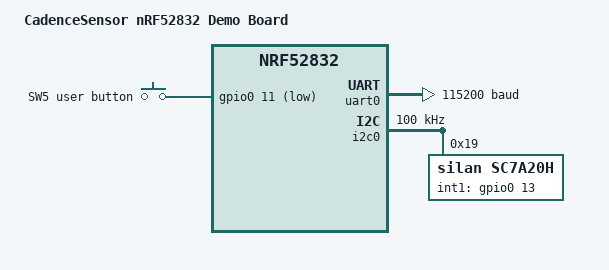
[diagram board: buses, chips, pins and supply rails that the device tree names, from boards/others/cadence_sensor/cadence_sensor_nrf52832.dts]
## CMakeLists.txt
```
cmake_minimum_required(VERSION 3.20.0)
list(APPEND BOARD_ROOT ${CMAKE_CURRENT_SOURCE_DIR})
list(APPEND DTS_ROOT ${CMAKE_CURRENT_SOURCE_DIR})
if(NOT DEFINED BOARD)
    set(BOARD cadence_sensor/nrf52832 CACHE STRING "Target board")
endif()
# Load ANT for both command-line and IDE builds. Cache the module path so
# subsequent IDE/pristine builds do not depend on the launching shell.
set(CADENCE_ANT_MODULE_DIR "D:/ncs/ant-v2.1.1/ant" CACHE PATH "sdk-ant v2.1.1 module")
if(DEFINED ENV{CADENCE_ANT_MODULE_DIR})
    set(CADENCE_ANT_MODULE_DIR "$ENV{CADENCE_ANT_MODULE_DIR}" CACHE PATH "sdk-ant v2.1.1 module" FORCE)
endif()
if(NOT EXISTS "${CADENCE_ANT_MODULE_DIR}/zephyr/module.yml")
    message(FATAL_ERROR "ANT add-on missing: set CADENCE_ANT_MODULE_DIR to sdk-ant v2.1.1")
endif()
list(APPEND ZEPHYR_EXTRA_MODULES "${CADENCE_ANT_MODULE_DIR}")
find_package(Zephyr REQUIRED HINTS $ENV{ZEPHYR_BASE})
file(STRINGS "${ZEPHYR_NRF_MODULE_DIR}/VERSION" cadence_sdk_version LIMIT_COUNT 1)
if(NOT cadence_sdk_version STREQUAL "3.2.4")
    message(FATAL_ERROR "CadenceSensor requires NCS 3.2.4 with sdk-ant v2.1.1")
endif()

project(nRF52832_Demo)

target_include_directories(app PRIVATE ${CMAKE_CURRENT_SOURCE_DIR}/src)

target_sources(app PRIVATE
    src/main.c
    src/app/ant_app.c
    src/app/bluetooth_app.c
    src/app/ota_entry.c
    src/app/sc7a20h_app.c
    src/drivers/sc7a20h.c
)
```

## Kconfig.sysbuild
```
choice FIRMWARE_LOADER
config FIRMWARE_LOADER_IMAGE_CADENCE
	bool "CadenceSensor BLE Loader"
endchoice

config FIRMWARE_LOADER_IMAGE_NAME
	default "ble_loader" if FIRMWARE_LOADER_IMAGE_CADENCE

config FIRMWARE_LOADER_IMAGE_PATH
	default "$(APP_DIR)/loader" if FIRMWARE_LOADER_IMAGE_CADENCE

source "$(ZEPHYR_BASE)/share/sysbuild/Kconfig"
```

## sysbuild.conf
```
SB_CONFIG_BOOTLOADER_MCUBOOT=y
# DTS owns the stable OTA map, including when using NCS 3.2.4 for ANT.
SB_CONFIG_PARTITION_MANAGER=n
SB_CONFIG_MCUBOOT_MODE_FIRMWARE_UPDATER=y
SB_CONFIG_MCUBOOT_MODE_FIRMWARE_UPDATER_BOOT_MODE_ENTRANCE=y
SB_CONFIG_FIRMWARE_LOADER_IMAGE_CADENCE=y
SB_CONFIG_BOOT_SIGNATURE_TYPE_ECDSA_P256=y
# SDK development key only; provision a private release key before distribution.
```

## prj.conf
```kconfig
# BLE peripheral using the on-chip SoftDevice Controller.
CONFIG_BT=y
CONFIG_BT_PERIPHERAL=y
CONFIG_BT_LL_SOFTDEVICE=y
CONFIG_BT_DEVICE_NAME="CadenceSensor"
CONFIG_BT_MAX_CONN=1

# ANT/BLE multiprotocol, sdk-ant v2.1.1 + NCS v3.2.4.
# Official evaluation authorization: non-commercial development only.
CONFIG_ANT=y
CONFIG_ANT_EVALUATION_KEY=y
CONFIG_ANT_CHANNEL_CONFIG=y
CONFIG_ANT_KEY_MANAGER=y
CONFIG_ANT_TOTAL_CHANNELS_ALLOCATED=1
CONFIG_ANT_ENCRYPTED_CHANNELS=0
CONFIG_HEAP_MEM_POOL_SIZE=4096

# I2C0 wiring and SC7A20H address are defined by the custom board DTS.
CONFIG_I2C=y

# printk console over BLE NUS; physical UART0 remains at P0.25/P0.26.
CONFIG_SERIAL=y
CONFIG_CONSOLE=y
CONFIG_UART_CONSOLE=y
CONFIG_PRINTK=y
CONFIG_BT_ZEPHYR_NUS=y
CONFIG_BT_ZEPHYR_NUS_DEFAULT_INSTANCE=n
CONFIG_BT_ZEPHYR_NUS_AUTO_START_BLUETOOTH=n
CONFIG_UART_BT=y

# The sysbuild bootchain signs and links this application into slot0.
CONFIG_BOOTLOADER_MCUBOOT=y
CONFIG_REBOOT=y
```

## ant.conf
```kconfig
# Official sdk-ant v2.1.1 / sdk-nrf v3.2.4 only.
# Evaluation stack for non-commercial development; no private key is stored.
CONFIG_ANT=y
CONFIG_ANT_EVALUATION_KEY=y
CONFIG_ANT_CHANNEL_CONFIG=y
CONFIG_ANT_KEY_MANAGER=y
CONFIG_ANT_TOTAL_CHANNELS_ALLOCATED=1
CONFIG_ANT_ENCRYPTED_CHANNELS=0
CONFIG_HEAP_MEM_POOL_SIZE=4096
```

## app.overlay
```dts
/* Application transport only. Physical wiring belongs to the board DTS. */
/ {
	chosen {
		zephyr,bt-hci = &bt_hci_sdc;
		zephyr,console = &bt_console;
	};

	bt_console: bt-console {
		compatible = "zephyr,nus-uart";
		tx-fifo-size = <2048>;
		rx-fifo-size = <512>;
	};
};

&radio { status = "okay"; };
&bt_hci_sdc { status = "okay"; };
&bt_hci_controller { status = "disabled"; };
```

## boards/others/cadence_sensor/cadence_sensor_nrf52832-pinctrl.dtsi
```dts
#include <zephyr/dt-bindings/pinctrl/nrf-pinctrl.h>

&pinctrl {
	uart0_default: uart0_default {
		tx {
			psels = <NRF_PSEL(UART_TX, 0, 25)>;
		};
		rx {
			psels = <NRF_PSEL(UART_RX, 0, 26)>;
			bias-pull-up;
		};
	};
	uart0_sleep: uart0_sleep {
		group1 {
			psels = <NRF_PSEL(UART_TX, 0, 25)>, <NRF_PSEL(UART_RX, 0, 26)>;
			low-power-enable;
			bias-pull-up;
		};
	};
	i2c0_default: i2c0_default {
		group1 {
			psels = <NRF_PSEL(TWIM_SCL, 0, 15)>,
				<NRF_PSEL(TWIM_SDA, 0, 14)>;
		};
	};
	i2c0_sleep: i2c0_sleep {
		group1 {
			psels = <NRF_PSEL(TWIM_SCL, 0, 15)>,
				<NRF_PSEL(TWIM_SDA, 0, 14)>;
			low-power-enable;
		};
	};
	spi1_default: spi1_default {
		group1 {
			psels = <NRF_PSEL(SPIM_SCK, 0, 7)>,
				<NRF_PSEL(SPIM_MOSI, 0, 8)>,
				<NRF_PSEL(SPIM_MISO, 0, 9)>;
		};
	};
	spi1_sleep: spi1_sleep {
		group1 {
			psels = <NRF_PSEL(SPIM_SCK, 0, 7)>,
				<NRF_PSEL(SPIM_MOSI, 0, 8)>,
				<NRF_PSEL(SPIM_MISO, 0, 9)>;
			low-power-enable;
		};
	};
};
```

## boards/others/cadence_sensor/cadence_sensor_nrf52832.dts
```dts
/dts-v1/;
#include <nordic/nrf52832_qfaa.dtsi>
#include <zephyr/dt-bindings/gpio/gpio.h>
#include <zephyr/dt-bindings/i2c/i2c.h>
#include <zephyr/dt-bindings/input/input-event-codes.h>
#include "cadence_sensor_nrf52832-pinctrl.dtsi"
#include "cadence_sensor_partitions.dtsi"

/ {
	model = "CadenceSensor nRF52832 Demo Board";
	compatible = "cadence,nrf52832-demo";

	chosen {
		zephyr,sram = &sram0;
		zephyr,flash = &flash0;
		zephyr,code-partition = &slot0_partition;
		zephyr,boot-mode = &boot_mode0;
		/* Physical console default; the application overlay selects NUS. */
		zephyr,console = &uart0;
	};

	aliases {
		sw0 = &user_button;
		mcuboot-button0 = &user_button;
		accel0 = &sc7a20h;
	};

	buttons {
		compatible = "gpio-keys";
		user_button: user-button {
			label = "SW5 user button";
			gpios = <&gpio0 11 (GPIO_PULL_UP | GPIO_ACTIVE_LOW)>;
			zephyr,code = <INPUT_KEY_0>;
		};
	};
};

/* X1=32 MHz is the physical HF crystal; keep the SoC's 64 MHz HFXO
 * clock output description. X2=32.768 kHz is selected in defconfig.
 * DCC -> 15 nH + 10 uH -> DEC4 and 1 uF are populated.
 */
&reg {
	regulator-initial-mode = <NRF5X_REG_MODE_DCDC>;
};

&uicr {
	gpio-as-nreset; /* SW4 / H3 RESET: P0.21. */
	nfct-pins-as-gpios; /* P0.09=MISO, P0.10=DRDY, not NFC. */
};

&gpio0 { status = "okay"; };
&gpiote { status = "okay"; };
&nfct { status = "disabled"; };
&adc { status = "disabled"; };
&temp { status = "disabled"; };
&wdt0 { status = "disabled"; };

/* Header pins P0.25/P0.26 assigned TX/RX by this project. */
&uart0 {
	compatible = "nordic,nrf-uarte";
	status = "okay";
	current-speed = <115200>;
	pinctrl-0 = <&uart0_default>;
	pinctrl-1 = <&uart0_sleep>;
	pinctrl-names = "default", "sleep";
};

&i2c0 {
	compatible = "nordic,nrf-twim";
	status = "okay";
	clock-frequency = <I2C_BITRATE_STANDARD>;
	pinctrl-0 = <&i2c0_default>;
	pinctrl-1 = <&i2c0_sleep>;
	pinctrl-names = "default", "sleep";

	sc7a20h: accelerometer@19 {
		compatible = "silan,sc7a20h";
		reg = <0x19>; /* SDO high, CS high: I2C. */
		int1-gpios = <&gpio0 13 GPIO_ACTIVE_HIGH>;
		/* ACC_INT2 is not connected to an MCU pin in this schematic. */
	};
};

/* ADS1220 wiring is recorded, but remains disabled until its firmware
 * driver is implemented. SPI0 shares the I2C0 hardware instance.
 */
&spi1 {
	compatible = "nordic,nrf-spim";
	status = "disabled";
	cs-gpios = <&gpio0 6 GPIO_ACTIVE_LOW>;
	pinctrl-0 = <&spi1_default>;
	pinctrl-1 = <&spi1_sleep>;
	pinctrl-names = "default", "sleep";

	ads1220: adc@0 {
		compatible = "ti,ads1220";
		reg = <0>;
		status = "disabled";
		/* Initial conservative limit; validate timing when enabling. */
		spi-max-frequency = <1000000>;
		spi-cpha;
		drdy-gpios = <&gpio0 10 GPIO_ACTIVE_LOW>;
	};
};
```

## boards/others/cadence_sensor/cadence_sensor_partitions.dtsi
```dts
/* Stable OTA layout: slot1 is a resident Loader, never a staging slot. */
&flash0 {
	partitions {
		ranges;
		#address-cells = <1>;
		#size-cells = <1>;
		boot_partition: partition@0 {
			compatible = "zephyr,mapped-partition";
			label = "mcuboot";
			reg = <0x00000 0x10000>;
		};
		slot0_partition: partition@10000 {
			compatible = "zephyr,mapped-partition";
			label = "image-0";
			reg = <0x10000 0x3c000>;
		};
		slot1_partition: partition@4c000 {
			compatible = "zephyr,mapped-partition";
			label = "image-1";
			reg = <0x4c000 0x30000>;
		};
		storage_partition: partition@7c000 {
			compatible = "zephyr,mapped-partition";
			label = "storage";
			reg = <0x7c000 0x4000>;
		};
	};
};

&gpregret1 {
	status = "okay";
	boot_mode0: boot_mode@0 {
		compatible = "zephyr,retention";
		status = "okay";
		reg = <0 1>;
	};
};
```

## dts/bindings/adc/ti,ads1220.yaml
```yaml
description: ADS1220 board wiring, reserved for a future application driver
compatible: "ti,ads1220"
include: spi-device.yaml
properties:
  drdy-gpios:
    type: phandle-array
    description: Active-low DRDY output
```

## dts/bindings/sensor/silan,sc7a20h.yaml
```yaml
description: SC7A20H accelerometer used by the application's polling driver
compatible: "silan,sc7a20h"
include: i2c-device.yaml
properties:
  int1-gpios:
    type: phandle-array
    description: INT1 connection; the application currently uses polling
```

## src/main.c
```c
#include <zephyr/kernel.h>
#include <zephyr/sys/printk.h>

#include "app/ant_app.h"
#include "app/bluetooth_app.h"
#include "app/sc7a20h_app.h"

int main(void)
{
	/* Official multiprotocol example initializes ANT before enabling BLE. */
	int ant_error = ant_app_init(&ant_app_default_channel_config);

	if (bluetooth_app_init() != 0) {
		return 0;
	}
	if (ant_error != 0) {
		printk("ANT initialization failed / unavailable (%d); BLE remains active\n", ant_error);
	} else {
		printk("ANT Bicycle Power started: fixed %u W, %u rpm; BLE active\n",
		       ANT_APP_FIXED_POWER_WATTS, ANT_APP_FIXED_CADENCE_RPM);
	}
	sc7a20h_app_start();

	while (true) {
		sc7a20h_app_process();
		bluetooth_app_process();
		ant_app_process();
		k_sleep(K_MSEC(20));
	}
}
```

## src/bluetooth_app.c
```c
#include "bluetooth_app.h"
#include "ota_entry.h"

#include <errno.h>
#include <zephyr/kernel.h>
#include <zephyr/bluetooth/bluetooth.h>
#include <zephyr/bluetooth/conn.h>
#include <zephyr/bluetooth/services/nus.h>
#include <zephyr/device.h>
#include <zephyr/drivers/uart.h>
#include <zephyr/sys/printk.h>
#include <zephyr/sys/util.h>

static const struct device *const ble_console = DEVICE_DT_GET(DT_CHOSEN(zephyr_console));

struct connection_event {
	bool connected;
	uint8_t status;
};

K_MSGQ_DEFINE(connection_events, sizeof(struct connection_event), 4, 1);

static const struct bt_data ad[] = {
	BT_DATA_BYTES(BT_DATA_FLAGS, (BT_LE_AD_GENERAL | BT_LE_AD_NO_BREDR)),
	BT_DATA_BYTES(BT_DATA_UUID128_ALL, BT_UUID_NUS_SRV_VAL),
};

static const struct bt_data sd[] = {
	BT_DATA(BT_DATA_NAME_COMPLETE, CONFIG_BT_DEVICE_NAME,
		sizeof(CONFIG_BT_DEVICE_NAME) - 1),
};

static void start_advertising(struct k_work *work)
{
	int err;

	ARG_UNUSED(work);
	err = bt_le_adv_start(BT_LE_ADV_CONN_FAST_1,
			      ad, ARRAY_SIZE(ad), sd, ARRAY_SIZE(sd));
	if (err) {
		printk("Bluetooth advertising failed (%d)\n", err);
		return;
	}
	printk("Bluetooth advertising as %s\n", CONFIG_BT_DEVICE_NAME);
}

K_WORK_DEFINE(advertising_work, start_advertising);

static void recycled(void)
{
	/* Restart only after the disconnected connection object is released. */
	k_work_submit(&advertising_work);
}

static void connected(struct bt_conn *conn, uint8_t err)
{
	const struct connection_event event = {.connected = true, .status = err};

	ARG_UNUSED(conn);
	/* The BLE UART can block when full, so print from main, not BT RX. */
	(void)k_msgq_put(&connection_events, &event, K_NO_WAIT);
}

static void disconnected(struct bt_conn *conn, uint8_t reason)
{
	const struct connection_event event = {.connected = false, .status = reason};

	ARG_UNUSED(conn);
	(void)k_msgq_put(&connection_events, &event, K_NO_WAIT);
}

BT_CONN_CB_DEFINE(conn_callbacks) = {
	.connected = connected,
	.disconnected = disconnected,
	.recycled = recycled,
};

int bluetooth_app_init(void)
{
	int err;

	if (!device_is_ready(ble_console)) {
		return -ENODEV;
	}

	err = bt_enable(NULL);
	if (err) {
		printk("Bluetooth initialization failed (%d)\n", err);
		return err;
	}

	k_work_submit(&advertising_work);
	return 0;
}

void bluetooth_app_process(void)
{
	struct connection_event event;
	unsigned char c;

	/* Subscribe to NUS TX notifications to receive buffered printk text.
	 * NUS RX writes are echoed here to verify bidirectional text transport.
	 */
	while (k_msgq_get(&connection_events, &event, K_NO_WAIT) == 0) {
		if (event.connected) {
			printk("BLE connection status: 0x%02x\n", event.status);
		} else {
			printk("BLE disconnected: 0x%02x\n", event.status);
		}
	}

	for (int i = 0; i < 64 && uart_poll_in(ble_console, &c) == 0; i++) {
		printk("%c", c);
		ota_entry_feed(c);
	}
}
```

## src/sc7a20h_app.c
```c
#include "sc7a20h_app.h"
#include "drivers/sc7a20h.h"

#include <errno.h>
#include <zephyr/kernel.h>
#include <zephyr/sys/printk.h>

#define SENSOR_NODE DT_ALIAS(accel0)
#define SENSOR_ADDRESS DT_REG_ADDR(SENSOR_NODE)
#define STATUS_OVERRUN 0x80U

struct sensor_snapshot {
	struct sc7a20h sensor;
	struct sc7a20h_sample sample;
	uint32_t samples;
	uint32_t overruns;
	uint32_t errors;
	int error;
	int64_t timestamp;
	uint32_t generation;
};

static struct sensor_snapshot snapshot;
K_MUTEX_DEFINE(snapshot_lock);

static void sample_thread(void *p1, void *p2, void *p3)
{
	struct sensor_snapshot state = {0};
	const struct device *bus = DEVICE_DT_GET(DT_BUS(SENSOR_NODE));
	int64_t last_data;

	ARG_UNUSED(p1);
	ARG_UNUSED(p2);
	ARG_UNUSED(p3);
	for (;;) {
		state.error = sc7a20h_init(&state.sensor, bus, SENSOR_ADDRESS);
		if (state.error != 0) {
			state.errors++;
		}
		state.generation++;
		last_data = k_uptime_get();
		for (;;) {
			k_mutex_lock(&snapshot_lock, K_FOREVER);
			snapshot = state;
			k_mutex_unlock(&snapshot_lock);
			if (state.error != 0) {
				break;
			}
			/* Poll faster than the 100 Hz ODR; do not print in this thread. */
			k_msleep(5);
			int err = sc7a20h_read(&state.sensor, &state.sample);

			if (err == -EAGAIN) {
				if (k_uptime_get() - last_data < 1000) {
					continue;
				}
				err = -ETIMEDOUT;
			}
			if (err != 0) {
				state.error = err;
				state.errors++;
				continue;
			}
			state.timestamp = k_uptime_get();
			last_data = state.timestamp;
			state.samples++;
			if ((state.sample.status & STATUS_OVERRUN) != 0U) {
				state.overruns++;
			}
		}
		/* Keep BLE usable if the sensor is absent or its bus fails. */
		k_msleep(2000);
	}
}

K_THREAD_DEFINE(sc7a20h_thread, 1536, sample_thread, NULL, NULL, NULL,
		7, 0, SYS_FOREVER_MS);

void sc7a20h_app_start(void)
{
	k_thread_start(sc7a20h_thread);
}

void sc7a20h_app_process(void)
{
	static int64_t next_print;
	static uint32_t last_generation;
	static uint32_t last_sample;
	struct sensor_snapshot state;
	int64_t now = k_uptime_get();

	if (now < next_print) {
		return;
	}
	next_print = now + 100;
	k_mutex_lock(&snapshot_lock, K_FOREVER);
	state = snapshot;
	k_mutex_unlock(&snapshot_lock);
	if (state.generation == 0) {
		return;
	}
	if (state.generation != last_generation) {
		last_generation = state.generation;
		printk("SC7 init: addr=0x%02x id=0x%02x version=0x%02x err=%d\n",
		       state.sensor.address, state.sensor.id, state.sensor.version, state.error);
		printk("SC7 CTRL[1f..25]=%02x %02x %02x %02x %02x %02x %02x\n",
		       state.sensor.ctrl[0], state.sensor.ctrl[1], state.sensor.ctrl[2],
		       state.sensor.ctrl[3], state.sensor.ctrl[4], state.sensor.ctrl[5],
		       state.sensor.ctrl[6]);
	}
	if (state.error != 0) {
		printk("SC7 error=%d reg=0x%02x errors=%u; retry in 2s\n",
		       state.error, state.sensor.last_reg, state.errors);
		/* Suppress repeated lines while waiting for the next init attempt. */
		next_print = now + 2000;
		return;
	}
	if (state.samples == 0 || state.samples == last_sample) {
		return;
	}
	last_sample = state.samples;
	printk("SC7 t=%lld n=%u raw=%d,%d,%d mg=%d,%d,%d st=%02x over=%u\n",
	       (long long)state.timestamp, state.samples,
	       state.sample.raw[0], state.sample.raw[1], state.sample.raw[2],
	       state.sample.mg[0], state.sample.mg[1], state.sample.mg[2],
	       state.sample.status, state.overruns);
}
```
